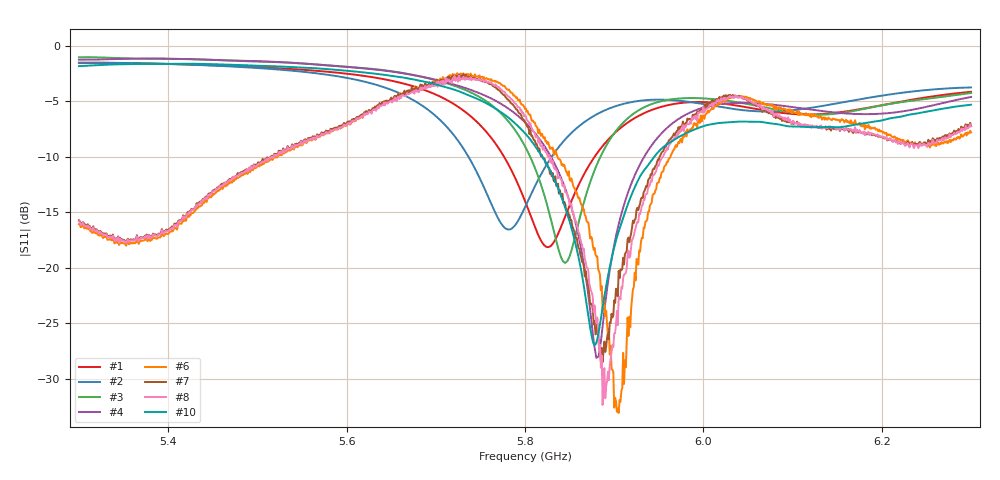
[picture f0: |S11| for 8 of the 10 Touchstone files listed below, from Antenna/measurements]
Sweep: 5.3 GHz to 6.3 GHz
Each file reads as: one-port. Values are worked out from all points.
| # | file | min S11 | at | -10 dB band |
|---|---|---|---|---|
| 1 | emerge, er=2.95, 0.6mm copper mesh.s1p | -18.1 dB | 5.826 GHz | 101.7 MHz wide |
| 2 | emerge, er=3.0, 0.6mm copper mesh.s1p | -16.6 dB | 5.782 GHz | 93.47 MHz wide |
| 3 | openEms 10th lambda cell.s1p | -19.6 dB | 5.845 GHz | 78.92 MHz wide |
| 4 | openEms 20th lambda cell er=2.95.s1p | -28.1 dB | 5.88 GHz | 104.8 MHz wide |
| 5 | openEms 20th lambda cell.s1p | -27.4 dB | 5.835 GHz | 102.2 MHz wide |
| 6 | SN00001_2026-02-07_22-19-09.s1p | -33.1 dB | 5.905 GHz | over 219 MHz wide |
| 7 | SN00002_2026-02-07_22-24-50.s1p | -28.5 dB | 5.887 GHz | over 215.3 MHz wide |
| 8 | SN00003_2026-02-07_22-26-34.s1p | -32.4 dB | 5.887 GHz | over 218 MHz wide |
| 9 | SN00003_LiteVNA_2026-03-29_20-31-41.s1p | -27.6 dB | 5.873 GHz | 124.8 MHz wide |
| 10 | SN00003_R&S_ZNB20_VNA.s1p | -27.0 dB | 5.878 GHz | 125.7 MHz wide |
